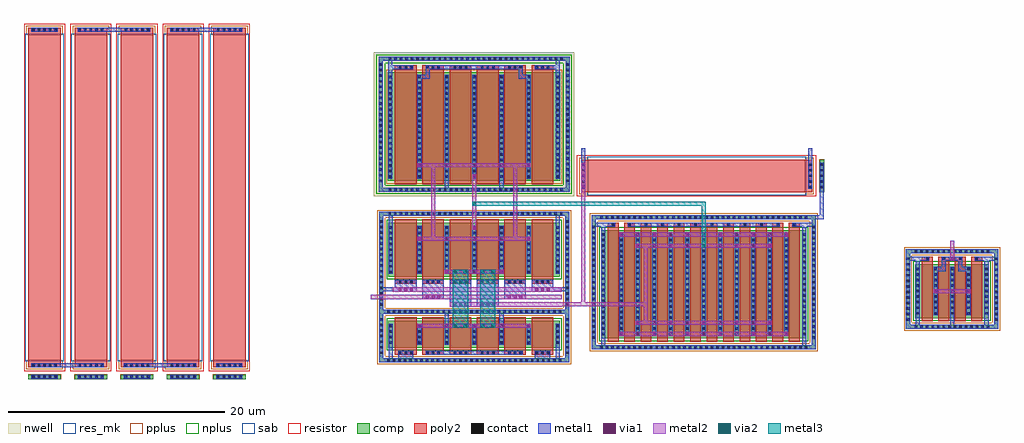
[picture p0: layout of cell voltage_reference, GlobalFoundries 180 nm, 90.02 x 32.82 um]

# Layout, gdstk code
from math import pi, radians
import gdstk
lib = gdstk.Library(unit=1e-6, precision=5e-09)
def R(c, l, rs):  # rectangles x0, y0, x1, y1
    for r in rs: c.add(gdstk.rectangle(r[:2], r[2:], *l))
def A(c, l, x, y, w, h, nx, ny, dx, dy):  # array of equal rectangles
    R(c, l, [(x+i*dx, y+j*dy, x+i*dx+w, y+j*dy+h) for i in range(nx) for j in range(ny)])
def P(c, l, *ps):  # polygons
    for p in ps: c.add(gdstk.Polygon(p, *l))
nwell = (21, 0)
comp = (22, 0)
poly2 = (30, 0)
pplus = (31, 0)
nplus = (32, 0)
contact = (33, 0)
metal1 = (34, 0)
via1 = (35, 0)
metal2 = (36, 0)
via2 = (38, 0)
metal3 = (42, 0)
sab = (49, 0)
resistor = (62, 0)
res_mk = (110, 5)

nfet = lib.new_cell('nfet')
R(nfet, comp, [(-0.42,0,0,2.5), (0,0,14.98,2.5), (14.98,0,15.4,2.5)])
P(nfet, comp, [(-1.28,-1.36),(-1.28,3.11),(-0.9,3.11),(-0.9,-0.98),(15.88,-0.98),(15.88,3.11),(-1.28,3.11),(-1.28,3.49),(16.26,3.49),(16.26,-1.36)])
A(nfet, poly2, 0.19, -0.66, 2, 0.36, 6, 1, 2.52, 0)
A(nfet, poly2, 0.19, -0.3, 2, 3.1, 6, 1, 2.52, 0)
P(nfet, pplus, [(-1.45,-1.53),(-1.45,2.94),(-0.73,2.94),(-0.73,-0.81),(15.71,-0.81),(15.71,2.94),(-1.45,2.94),(-1.45,3.66),(16.43,3.66),(16.43,-1.53)])
R(nfet, nplus, [(-0.59,-0.24,15.57,2.74)])
A(nfet, contact, -0.525, -1.28, 0.22, 0.22, 32, 2, 0.51, 4.47)
A(nfet, contact, 0.57, -0.59, 0.22, 0.22, 3, 1, 0.51, 0)
A(nfet, contact, 3.09, -0.59, 0.22, 0.22, 3, 1, 0.51, 0)
A(nfet, contact, 5.61, -0.59, 0.22, 0.22, 3, 1, 0.51, 0)
A(nfet, contact, 8.13, -0.59, 0.22, 0.22, 3, 1, 0.51, 0)
A(nfet, contact, 10.65, -0.59, 0.22, 0.22, 3, 1, 0.51, 0)
A(nfet, contact, 13.17, -0.59, 0.22, 0.22, 3, 1, 0.51, 0)
A(nfet, contact, -1.2, -0.575, 0.22, 0.22, 1, 7, 0, 0.51)
A(nfet, contact, 15.96, -0.575, 0.22, 0.22, 1, 7, 0, 0.51)
A(nfet, contact, -0.32, 0.375, 0.22, 0.22, 1, 4, 0, 0.51)
A(nfet, contact, 2.34, 0.375, 0.22, 0.22, 5, 4, 2.52, 0.51)
A(nfet, contact, 15.08, 0.375, 0.22, 0.22, 1, 4, 0, 0.51)
A(nfet, metal1, 0.49, -0.67, 1.4, 0.38, 6, 1, 2.52, 0)
A(nfet, metal1, 2.26, 0.295, 0.38, 1.91, 5, 1, 2.52, 0)
R(nfet, metal1, [(-0.4,0.295,-0.02,2.205), (15,0.295,15.38,2.205)])

nfet_3 = lib.new_cell('nfet$3')
R(nfet_3, comp, [(-0.42,0,0,10), (0,0,18.1,10), (18.1,0,18.52,10)])
P(nfet_3, comp, [(-1.28,-0.99),(-1.28,10.98),(-0.9,10.98),(-0.9,-0.61),(19,-0.61),(19,10.98),(-1.28,10.98),(-1.28,11.36),(19.38,11.36),(19.38,-0.99)])
A(nfet_3, poly2, 0.19, -0.3, 1, 10.6, 12, 1, 1.52, 0)
A(nfet_3, poly2, 0.19, 10.3, 1, 0.36, 12, 1, 1.52, 0)
P(nfet_3, pplus, [(-1.45,-1.16),(-1.45,10.81),(-0.73,10.81),(-0.73,-0.44),(18.83,-0.44),(18.83,10.81),(-1.45,10.81),(-1.45,11.53),(19.55,11.53),(19.55,-1.16)])
R(nfet_3, nplus, [(-0.59,-0.24,18.69,10.24)])
A(nfet_3, contact, -0.495, -0.91, 0.22, 0.22, 38, 2, 0.51, 11.97)
A(nfet_3, contact, -1.2, -0.025, 0.22, 0.22, 1, 21, 0, 0.51)
A(nfet_3, contact, 19.08, -0.025, 0.22, 0.22, 1, 21, 0, 0.51)
A(nfet_3, contact, -0.32, 0.3, 0.22, 0.22, 1, 19, 0, 0.51)
A(nfet_3, contact, 1.34, 0.3, 0.22, 0.22, 11, 19, 1.52, 0.51)
A(nfet_3, contact, 18.2, 0.3, 0.22, 0.22, 1, 19, 0, 0.51)
A(nfet_3, contact, 0.58, 10.37, 0.22, 0.22, 12, 1, 1.52, 0)
A(nfet_3, metal1, 1.26, 0.22, 0.38, 9.56, 11, 1, 1.52, 0)
A(nfet_3, metal1, 0.5, 10.29, 0.38, 0.38, 12, 1, 1.52, 0)
R(nfet_3, metal1, [(-0.4,0.22,-0.02,9.78), (18.12,0.22,18.5,9.78)])

ppolyf_u_high_rs_resisto = lib.new_cell('ppolyf_u_high_Rs_resistor')
R(ppolyf_u_high_rs_resisto, comp, [(-1.76,0,-1.34,3)])
R(ppolyf_u_high_rs_resisto, poly2, [(-0.64,0,20.64,3)])
R(ppolyf_u_high_rs_resisto, pplus, [(-0.82,-0.18,0,3.18), (20,-0.18,20.82,3.18), (-1.78,-0.02,-1.32,3.02)])
A(ppolyf_u_high_rs_resisto, contact, -1.66, 0.37, 0.22, 0.22, 1, 5, 0, 0.51)
A(ppolyf_u_high_rs_resisto, contact, -0.57, 0.37, 0.22, 0.22, 1, 5, 0, 0.51)
A(ppolyf_u_high_rs_resisto, contact, 20.35, 0.37, 0.22, 0.22, 1, 5, 0, 0.51)
R(ppolyf_u_high_rs_resisto, metal1, [(-1.74,0.29,-1.36,2.71), (-0.65,0.29,-0.27,2.71), (20.27,0.29,20.65,2.71)])
R(ppolyf_u_high_rs_resisto, sab, [(-0.1,-0.28,20.1,3.28)])
R(ppolyf_u_high_rs_resisto, resistor, [(-1.04,-0.4,21.04,3.4)])
R(ppolyf_u_high_rs_resisto, res_mk, [(0,0,20,3)])

nfet_2 = lib.new_cell('nfet$2')
R(nfet_2, comp, [(-0.42,0,0,5), (0,0,5.94,5), (5.94,0,6.36,5)])
P(nfet_2, comp, [(-1.28,-0.99),(-1.28,5.98),(-0.9,5.98),(-0.9,-0.61),(6.84,-0.61),(6.84,5.98),(-1.28,5.98),(-1.28,6.36),(7.22,6.36),(7.22,-0.99)])
A(nfet_2, poly2, 0.19, -0.3, 1, 5.6, 4, 1, 1.52, 0)
A(nfet_2, poly2, 0.19, 5.3, 1, 0.36, 4, 1, 1.52, 0)
P(nfet_2, pplus, [(-1.45,-1.16),(-1.45,5.81),(-0.73,5.81),(-0.73,-0.44),(6.67,-0.44),(6.67,5.81),(-1.45,5.81),(-1.45,6.53),(7.39,6.53),(7.39,-1.16)])
R(nfet_2, nplus, [(-0.59,-0.24,6.53,5.24)])
A(nfet_2, contact, -0.455, -0.91, 0.22, 0.22, 14, 2, 0.51, 6.97)
A(nfet_2, contact, -1.2, -0.23, 0.22, 0.22, 1, 12, 0, 0.51)
A(nfet_2, contact, 6.92, -0.23, 0.22, 0.22, 1, 12, 0, 0.51)
A(nfet_2, contact, -0.32, 0.35, 0.22, 0.22, 1, 9, 0, 0.51)
A(nfet_2, contact, 1.34, 0.35, 0.22, 0.22, 3, 9, 1.52, 0.51)
A(nfet_2, contact, 6.04, 0.35, 0.22, 0.22, 1, 9, 0, 0.51)
A(nfet_2, contact, 0.58, 5.37, 0.22, 0.22, 4, 1, 1.52, 0)
A(nfet_2, metal1, 1.26, 0.27, 0.38, 4.46, 3, 1, 1.52, 0)
A(nfet_2, metal1, 0.5, 5.29, 0.38, 0.38, 4, 1, 1.52, 0)
R(nfet_2, metal1, [(-0.4,0.27,-0.02,4.73), (5.96,0.27,6.34,4.73)])

c_ppolyf_u_high_rs_resisto = lib.new_cell('ppolyf_u_high_Rs_resistor$1')
R(c_ppolyf_u_high_rs_resisto, comp, [(-1.76,0,-1.34,3)])
R(c_ppolyf_u_high_rs_resisto, poly2, [(-0.64,0,30.64,3)])
R(c_ppolyf_u_high_rs_resisto, pplus, [(-0.82,-0.18,0,3.18), (30,-0.18,30.82,3.18), (-1.78,-0.02,-1.32,3.02)])
A(c_ppolyf_u_high_rs_resisto, contact, -1.66, 0.37, 0.22, 0.22, 1, 5, 0, 0.51)
A(c_ppolyf_u_high_rs_resisto, contact, -0.57, 0.37, 0.22, 0.22, 1, 5, 0, 0.51)
A(c_ppolyf_u_high_rs_resisto, contact, 30.35, 0.37, 0.22, 0.22, 1, 5, 0, 0.51)
R(c_ppolyf_u_high_rs_resisto, metal1, [(-1.74,0.29,-1.36,2.71), (-0.65,0.29,-0.27,2.71), (30.27,0.29,30.65,2.71)])
R(c_ppolyf_u_high_rs_resisto, sab, [(-0.1,-0.28,30.1,3.28)])
R(c_ppolyf_u_high_rs_resisto, resistor, [(-1.04,-0.4,31.04,3.4)])
R(c_ppolyf_u_high_rs_resisto, res_mk, [(0,0,30,3)])

voltage_reference = lib.new_cell('voltage_reference')
R(voltage_reference, nwell, [(7.805,29.03,26.305,42.345)])
R(voltage_reference, comp, [(9.145,21.615,9.565,26.615), (9.565,21.615,24.545,26.615), (24.545,21.615,24.965,26.615), (9.105,30.46,9.565,40.46), (9.565,30.46,24.545,40.46), (24.545,30.46,25.005,40.46)])
P(voltage_reference, comp, [(8.285,18.185),(8.285,27.225),(8.665,27.225),(8.665,18.565),(25.445,18.565),(25.445,27.225),(8.285,27.225),(8.285,27.605),(25.825,27.605),(25.825,18.185)],
  [(8.245,29.47),(8.245,41.525),(8.625,41.525),(8.625,29.85),(25.485,29.85),(25.485,41.525),(8.245,41.525),(8.245,41.905),(25.865,41.905),(25.865,29.47)])
A(voltage_reference, poly2, 9.755, 20.955, 2, 0.36, 6, 1, 2.52, 0)
A(voltage_reference, poly2, 9.755, 21.315, 2, 5.6, 6, 1, 2.52, 0)
A(voltage_reference, poly2, 9.755, 30.16, 2, 10.6, 6, 1, 2.52, 0)
A(voltage_reference, poly2, 9.755, 40.76, 2, 0.38, 6, 1, 2.52, 0)
R(voltage_reference, pplus, [(8.935,30.22,25.175,40.7)])
P(voltage_reference, pplus, [(8.115,18.015),(8.115,27.055),(8.835,27.055),(8.835,18.735),(25.275,18.735),(25.275,27.055),(8.115,27.055),(8.115,27.775),(25.995,27.775),(25.995,18.015)])
R(voltage_reference, nplus, [(8.975,21.375,25.135,26.855)])
A(voltage_reference, contact, 9.04, 18.265, 0.22, 0.22, 32, 1, 0.51, 0)
A(voltage_reference, contact, 8.365, 18.96, 0.22, 0.22, 1, 16, 0, 0.51)
A(voltage_reference, contact, 25.525, 18.96, 0.22, 0.22, 1, 16, 0, 0.51)
A(voltage_reference, contact, 10.135, 21.025, 0.22, 0.22, 3, 2, 0.51, 19.815)
A(voltage_reference, contact, 12.655, 21.025, 0.22, 0.22, 3, 2, 0.51, 19.815)
A(voltage_reference, contact, 15.175, 21.025, 0.22, 0.22, 3, 2, 0.51, 19.815)
A(voltage_reference, contact, 17.695, 21.025, 0.22, 0.22, 3, 2, 0.51, 19.815)
A(voltage_reference, contact, 20.215, 21.025, 0.22, 0.22, 3, 2, 0.51, 19.815)
A(voltage_reference, contact, 22.735, 21.025, 0.22, 0.22, 3, 2, 0.51, 19.815)
A(voltage_reference, contact, 9.245, 21.965, 0.22, 0.22, 1, 9, 0, 0.51)
A(voltage_reference, contact, 11.905, 21.965, 0.22, 0.22, 5, 9, 2.52, 0.51)
A(voltage_reference, contact, 24.645, 21.965, 0.22, 0.22, 1, 9, 0, 0.51)
A(voltage_reference, contact, 9.165, 27.305, 0.22, 0.22, 32, 1, 0.51, 0)
A(voltage_reference, contact, 9.185, 29.55, 0.22, 0.22, 32, 2, 0.51, 12.055)
A(voltage_reference, contact, 8.325, 30.365, 0.22, 0.22, 1, 22, 0, 0.51)
A(voltage_reference, contact, 25.565, 30.365, 0.22, 0.22, 1, 22, 0, 0.51)
A(voltage_reference, contact, 9.225, 30.76, 0.22, 0.22, 1, 19, 0, 0.51)
A(voltage_reference, contact, 11.905, 30.76, 0.22, 0.22, 5, 19, 2.52, 0.51)
A(voltage_reference, contact, 24.665, 30.76, 0.22, 0.22, 1, 19, 0, 0.51)
A(voltage_reference, metal1, 10.055, 20.945, 1.4, 0.38, 6, 2, 2.52, 19.815)
A(voltage_reference, metal1, 11.825, 21.885, 0.38, 4.46, 5, 1, 2.52, 0)
A(voltage_reference, metal1, 11.825, 30.68, 0.38, 9.56, 5, 1, 2.52, 0)
R(voltage_reference, metal1, [(-23.77,13.28,-17.09,13.66), (-15.25,13.28,-8.57,13.66), (10.055,14.095,11.455,14.405), (22.655,14.095,24.055,14.405), (12.575,14.405,21.535,14.785), (14.795,18.875,16.795,21.325), (17.315,18.875,19.315,21.325), (12.275,19.565,14.275,21.325), (19.835,19.565,21.835,21.325), (9.755,20.255,11.755,21.325), (22.355,20.255,24.355,21.325), (9.165,21.885,9.545,26.345), (24.565,21.885,24.945,26.345), (60.185,23.085,62.085,23.465), (31.2,26.215,45.26,26.595), (9.145,30.68,9.525,40.24), (24.585,30.68,24.965,40.24), (12.575,40.76,21.535,41.14), (-19.51,44.2,-12.83,44.58), (-10.99,44.2,-4.31,44.58)])
A(voltage_reference, via1, 30.5, 16.21, 0.26, 0.26, 6, 2, 3.04, 9.175)
A(voltage_reference, via1, 32.02, 17.23, 0.26, 0.26, 5, 2, 3.04, 7.135)
A(voltage_reference, via1, 15.135, 18.945, 0.26, 0.26, 3, 1, 0.53, 0)
A(voltage_reference, via1, 17.655, 18.945, 0.26, 0.26, 3, 1, 0.53, 0)
A(voltage_reference, via1, 12.615, 19.635, 0.26, 0.26, 3, 1, 0.53, 0)
A(voltage_reference, via1, 20.175, 19.635, 0.26, 0.26, 3, 1, 0.53, 0)
A(voltage_reference, via1, 10.095, 20.325, 0.26, 0.26, 3, 1, 0.53, 0)
A(voltage_reference, via1, 22.695, 20.325, 0.26, 0.26, 3, 1, 0.53, 0)
R(voltage_reference, via1, [(11.885,16.96,12.145,17.22), (21.965,16.96,22.225,17.22), (16.925,16.965,17.185,17.225), (59.485,20.17,59.745,20.43), (62.525,20.17,62.785,20.43), (14.405,21.945,14.665,22.205), (19.445,21.945,19.705,22.205), (61.01,23.14,61.27,23.4), (11.885,25.005,12.145,25.265), (21.965,25.005,22.225,25.265), (16.925,26.03,17.185,26.29), (26.99,29.78,27.25,30.04), (16.925,30.74,17.185,31), (26.99,30.795,27.25,31.055), (11.885,31.76,12.145,32.02), (21.965,31.76,22.225,32.02), (26.99,31.82,27.25,32.08)])
R(voltage_reference, metal2, [(14.795,18.875,25.135,19.275), (7.5,19.565,25.135,19.965), (9.565,20.255,25.135,20.655)])
R(voltage_reference, via2, [(15.205,16.96,15.465,17.22), (16.115,16.96,16.375,17.22), (17.735,16.96,17.995,17.22), (18.645,16.96,18.905,17.22), (15.205,21.945,15.465,22.205), (16.115,21.945,16.375,22.205), (17.735,21.945,17.995,22.205), (18.645,21.945,18.905,22.205), (38.1,24.365,38.36,24.625), (16.925,28.24,17.185,28.5)])
R(voltage_reference, metal3, [(15.095,16.9,16.5,22.265), (17.615,16.9,19.02,22.265)])
voltage_reference.add(gdstk.FlexPath([(8.475,14.5),(8.475,27.415),(25.635,27.415),(25.635,14.5),(25.635,14.5),(25.635,13.905),(8.475,13.905),(8.475,14.5)], 0.38, ends="flush", simple_path=True, layer=34, datatype=0))  # metal1
voltage_reference.add(gdstk.FlexPath([(8.665,18.375),(25.445,18.375)], 0.38, ends="flush", simple_path=True, layer=34, datatype=0))  # metal1
voltage_reference.add(gdstk.FlexPath([(8.435,41.01),(8.435,29.66),(25.675,29.66),(25.675,41.715),(8.435,41.715),(8.435,41.01)], 0.38, ends="flush", simple_path=True, layer=34, datatype=0))  # metal1
voltage_reference.add(gdstk.FlexPath([(9.355,15.37),(9.355,14.095)], 0.38, ends="flush", simple_path=True, layer=34, datatype=0))  # metal1
voltage_reference.add(gdstk.FlexPath([(24.755,15.37),(24.755,14.095)], 0.38, ends="flush", simple_path=True, layer=34, datatype=0))  # metal1
voltage_reference.add(gdstk.FlexPath([(9.755,20.455),(8.665,20.455)], 0.38, ends="flush", simple_path=True, layer=34, datatype=0))  # metal1
voltage_reference.add(gdstk.FlexPath([(9.355,26.345),(9.355,27.225)], 0.38, ends="flush", simple_path=True, layer=34, datatype=0))  # metal1
voltage_reference.add(gdstk.FlexPath([(24.755,26.345),(24.755,27.225)], 0.38, ends="flush", simple_path=True, layer=34, datatype=0))  # metal1
voltage_reference.add(gdstk.FlexPath([(24.355,20.455),(25.445,20.455)], 0.38, ends="flush", simple_path=True, layer=34, datatype=0))  # metal1
voltage_reference.add(gdstk.FlexPath([(12.205,40.05),(12.765,40.05),(12.765,40.76),(12.765,40.76)], 0.38, ends="flush", simple_path=True, layer=34, datatype=0))  # metal1
voltage_reference.add(gdstk.FlexPath([(21.905,40.05),(21.345,40.05),(21.345,40.76)], 0.38, ends="flush", simple_path=True, layer=34, datatype=0))  # metal1
voltage_reference.add(gdstk.FlexPath([(9.335,40.24),(9.335,40.95),(10.055,40.95),(10.055,40.95)], 0.38, ends="flush", simple_path=True, layer=34, datatype=0))  # metal1
voltage_reference.add(gdstk.FlexPath([(24.055,40.95),(24.775,40.95),(24.775,40.24)], 0.38, ends="flush", simple_path=True, layer=34, datatype=0))  # metal1
voltage_reference.add(gdstk.FlexPath([(24.775,41.14),(24.775,41.525)], 0.38, ends="flush", simple_path=True, layer=34, datatype=0))  # metal1
voltage_reference.add(gdstk.FlexPath([(9.335,41.14),(9.335,41.525)], 0.38, ends="flush", simple_path=True, layer=34, datatype=0))  # metal1
voltage_reference.add(gdstk.FlexPath([(14.535,30.68),(14.535,29.85)], 0.38, ends="flush", simple_path=True, layer=34, datatype=0))  # metal1
voltage_reference.add(gdstk.FlexPath([(19.575,30.68),(19.575,29.85)], 0.38, ends="flush", simple_path=True, layer=34, datatype=0))  # metal1
voltage_reference.add(gdstk.FlexPath([(30.06,26.405),(28.97,26.405),(28.97,25.705),(28.97,25.705)], 0.38, ends="flush", simple_path=True, layer=34, datatype=0))  # metal1
voltage_reference.add(gdstk.FlexPath([(47.49,25.705),(47.49,26.405),(46.78,26.405)], 0.38, ends="flush", simple_path=True, layer=34, datatype=0))  # metal1
voltage_reference.add(gdstk.FlexPath([(28.09,26.32),(28.09,15.125),(48.37,15.125),(48.37,27.095),(28.09,27.095),(28.09,26.32)], 0.38, ends="flush", simple_path=True, layer=34, datatype=0))  # metal1
voltage_reference.add(gdstk.FlexPath([(28.97,16.145),(28.97,15.315)], 0.38, ends="flush", simple_path=True, layer=34, datatype=0))  # metal1
voltage_reference.add(gdstk.FlexPath([(47.49,16.145),(47.49,15.315)], 0.38, ends="flush", simple_path=True, layer=34, datatype=0))  # metal1
voltage_reference.add(gdstk.FlexPath([(28.78,26.4),(28.28,26.4)], 0.38, ends="flush", simple_path=True, layer=34, datatype=0))  # metal1
voltage_reference.add(gdstk.FlexPath([(47.68,26.405),(48.18,26.405)], 0.38, ends="flush", simple_path=True, layer=34, datatype=0))  # metal1
voltage_reference.add(gdstk.FlexPath([(27.12,32.14),(27.12,33.465)], 0.38, ends="flush", simple_path=True, layer=34, datatype=0))  # metal1
voltage_reference.add(gdstk.FlexPath([(48.04,32.14),(48.04,33.455)], 0.38, ends="flush", simple_path=True, layer=34, datatype=0))  # metal1
voltage_reference.add(gdstk.FlexPath([(49.13,29.72),(49.13,27.095),(48.56,27.095)], 0.38, ends="flush", simple_path=True, layer=34, datatype=0))  # metal1
voltage_reference.add(gdstk.FlexPath([(58.665,23.275),(57.955,23.275),(57.955,22.525)], 0.38, ends="flush", simple_path=True, layer=34, datatype=0))  # metal1
voltage_reference.add(gdstk.FlexPath([(64.315,22.525),(64.315,23.275),(63.605,23.275)], 0.38, ends="flush", simple_path=True, layer=34, datatype=0))  # metal1
voltage_reference.add(gdstk.FlexPath([(57.71,16.995),(65.195,16.995),(65.195,23.965),(57.075,23.965),(57.075,16.995),(57.71,16.995)], 0.38, ends="flush", simple_path=True, layer=34, datatype=0))  # metal1
voltage_reference.add(gdstk.FlexPath([(57.955,18.065),(57.955,17.185)], 0.38, ends="flush", simple_path=True, layer=34, datatype=0))  # metal1
voltage_reference.add(gdstk.FlexPath([(61.135,18.065),(61.135,17.185)], 0.38, ends="flush", simple_path=True, layer=34, datatype=0))  # metal1
voltage_reference.add(gdstk.FlexPath([(64.315,18.065),(64.315,17.185)], 0.38, ends="flush", simple_path=True, layer=34, datatype=0))  # metal1
voltage_reference.add(gdstk.FlexPath([(57.765,23.275),(57.265,23.275)], 0.38, ends="flush", simple_path=True, layer=34, datatype=0))  # metal1
voltage_reference.add(gdstk.FlexPath([(64.505,23.275),(65.005,23.275)], 0.38, ends="flush", simple_path=True, layer=34, datatype=0))  # metal1
voltage_reference.add(gdstk.FlexPath([(60.375,23.085),(60.375,22.335),(59.425,22.335)], 0.38, ends="flush", simple_path=True, layer=34, datatype=0))  # metal1
voltage_reference.add(gdstk.FlexPath([(61.895,23.085),(61.895,22.335),(62.465,22.335)], 0.38, ends="flush", simple_path=True, layer=34, datatype=0))  # metal1
voltage_reference.add(gdstk.FlexPath([(14.535,18.565),(14.535,17.28)], 0.38, ends="flush", simple_path=True, layer=34, datatype=0))  # metal1
voltage_reference.add(gdstk.FlexPath([(19.575,18.565),(19.575,17.28)], 0.38, ends="flush", simple_path=True, layer=34, datatype=0))  # metal1
voltage_reference.add(gdstk.FlexPath([(8.435,30.365),(8.435,41.715),(25.675,41.715),(25.675,29.66),(8.435,29.66),(8.435,30.365)], 0.8, ends="flush", simple_path=True, layer=32, datatype=0))  # nplus
voltage_reference.add(gdstk.FlexPath([(14.345,22.075),(19.765,22.075)], 0.38, ends="flush", simple_path=True, layer=36, datatype=0))  # metal2
voltage_reference.add(gdstk.FlexPath([(11.825,17.09),(22.285,17.09)], 0.38, ends="flush", simple_path=True, layer=36, datatype=0))  # metal2
voltage_reference.add(gdstk.FlexPath([(11.825,25.135),(22.285,25.135)], 0.38, ends="flush", simple_path=True, layer=36, datatype=0))  # metal2
voltage_reference.add(gdstk.FlexPath([(11.825,31.89),(22.285,31.89)], 0.38, ends="flush", simple_path=True, layer=36, datatype=0))  # metal2
voltage_reference.add(gdstk.FlexPath([(17.055,25.975),(17.055,31.07)], 0.38, ends="flush", simple_path=True, layer=36, datatype=0))  # metal2
voltage_reference.add(gdstk.FlexPath([(13.27,31.7),(13.27,25.325)], 0.38, ends="flush", simple_path=True, layer=36, datatype=0))  # metal2
voltage_reference.add(gdstk.FlexPath([(20.835,31.7),(20.835,25.325)], 0.38, ends="flush", simple_path=True, layer=36, datatype=0))  # metal2
voltage_reference.add(gdstk.FlexPath([(46.02,25.515),(30.44,25.515)], 0.38, ends="flush", simple_path=True, layer=36, datatype=0))  # metal2
voltage_reference.add(gdstk.FlexPath([(31.96,24.495),(44.5,24.495)], 0.38, ends="flush", simple_path=True, layer=36, datatype=0))  # metal2
voltage_reference.add(gdstk.FlexPath([(46.02,16.34),(30.44,16.34)], 0.38, ends="flush", simple_path=True, layer=36, datatype=0))  # metal2
voltage_reference.add(gdstk.FlexPath([(31.96,17.36),(44.5,17.36)], 0.38, ends="flush", simple_path=True, layer=36, datatype=0))  # metal2
voltage_reference.add(gdstk.FlexPath([(25.135,19.075),(32.895,19.075),(32.895,24.305)], 0.38, ends="flush", simple_path=True, layer=36, datatype=0))  # metal2
voltage_reference.add(gdstk.FlexPath([(32.895,18.885),(32.895,17.55)], 0.38, ends="flush", simple_path=True, layer=36, datatype=0))  # metal2
voltage_reference.add(gdstk.FlexPath([(27.12,32.14),(27.12,18.885)], 0.38, ends="flush", simple_path=True, layer=36, datatype=0))  # metal2
voltage_reference.add(gdstk.FlexPath([(61.135,23.085),(61.135,24.935)], 0.38, ends="flush", simple_path=True, layer=36, datatype=0))  # metal2
voltage_reference.add(gdstk.FlexPath([(59.425,20.295),(62.845,20.295)], 0.38, ends="flush", simple_path=True, layer=36, datatype=0))  # metal2
voltage_reference.add(gdstk.FlexPath([(16.865,28.37),(37.46,28.37)], 0.38, ends="flush", simple_path=True, layer=42, datatype=0))  # metal3
voltage_reference.add(gdstk.FlexPath([(37.46,28.37),(38.23,28.37),(38.23,24.305)], 0.38, ends="flush", simple_path=True, layer=42, datatype=0))  # metal3
voltage_reference.add(gdstk.Reference(nfet, (9.565,15.075)))
voltage_reference.add(gdstk.Reference(nfet_3, (29.18,15.925)))
voltage_reference.add(gdstk.Reference(ppolyf_u_high_rs_resisto, (47.58,32.43), rotation=pi))
voltage_reference.add(gdstk.Reference(nfet_2, (58.165,17.795)))
voltage_reference.add(gdstk.Reference(c_ppolyf_u_high_rs_resisto, (-21.06,13.93), rotation=pi/2))
voltage_reference.add(gdstk.Reference(c_ppolyf_u_high_rs_resisto, (-8.28,13.93), rotation=pi/2))
voltage_reference.add(gdstk.Reference(c_ppolyf_u_high_rs_resisto, (-12.54,13.93), rotation=pi/2))
voltage_reference.add(gdstk.Reference(c_ppolyf_u_high_rs_resisto, (-16.8,13.93), rotation=pi/2))
voltage_reference.add(gdstk.Reference(c_ppolyf_u_high_rs_resisto, (-4.02,13.93), rotation=pi/2))

lib.write_gds('voltage_reference.gds')
